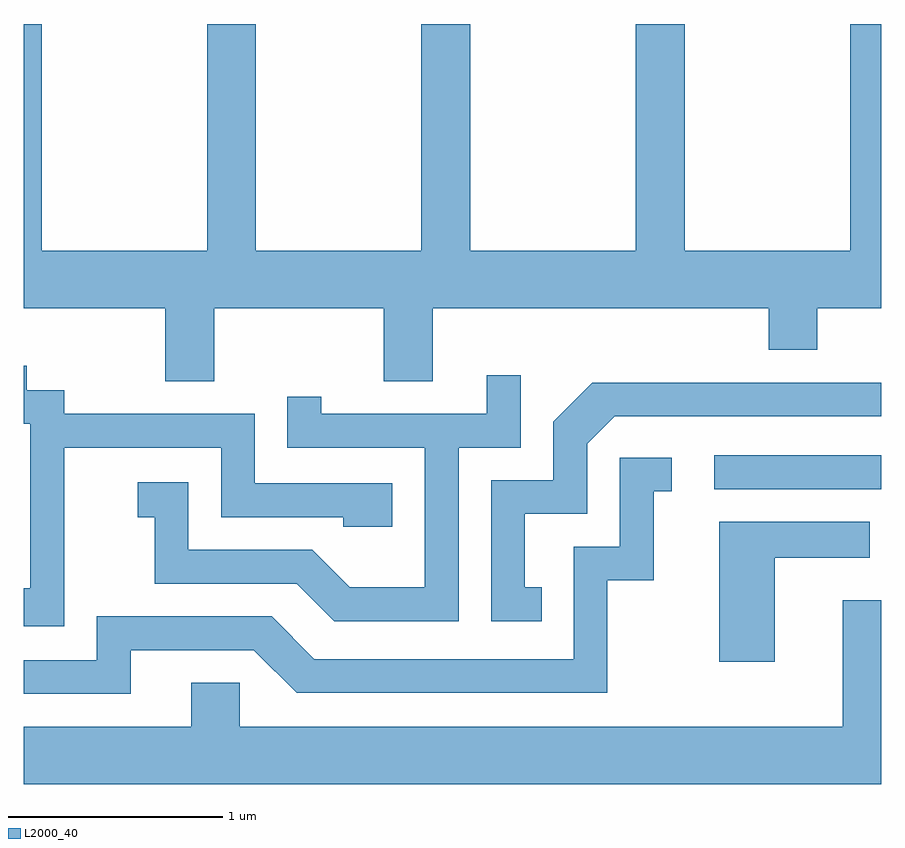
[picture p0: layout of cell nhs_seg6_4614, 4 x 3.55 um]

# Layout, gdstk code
import gdstk
lib = gdstk.Library(unit=1e-6, precision=1e-09)
def R(c, l, rs):  # rectangles x0, y0, x1, y1
    for r in rs: c.add(gdstk.rectangle(r[:2], r[2:], *l))
def P(c, l, *ps):  # polygons
    for p in ps: c.add(gdstk.Polygon(p, *l))
L2000_40 = (2000, 40)

nhs_seg6_4614 = lib.new_cell('nhs_seg6_4614')
R(nhs_seg6_4614, L2000_40, [(328.833,1637.991,329.611,1638.149)])
P(nhs_seg6_4614, L2000_40, [(326.499,1638.836),(327.291,1638.836),(327.291,1638.496),(327.519,1638.496),(327.519,1638.836),(329.086,1638.836),(329.086,1638.641),(329.314,1638.641),(329.314,1638.836),(329.611,1638.836),(329.611,1640.162),(329.466,1640.162),(329.466,1639.104),(328.694,1639.104),(328.694,1640.162),(328.466,1640.162),(328.466,1639.104),(327.694,1639.104),(327.694,1640.162),(327.466,1640.162),(327.466,1639.104),(326.694,1639.104),(326.694,1640.162),(326.466,1640.162),(326.466,1639.104),(325.694,1639.104),(325.694,1640.162),(325.611,1640.162),(325.611,1638.836),(326.271,1638.836),(326.271,1638.496),(326.499,1638.496)],
  [(325.799,1638.186),(326.531,1638.186),(326.531,1637.861),(327.101,1637.861),(327.101,1637.816),(327.329,1637.816),(327.329,1638.019),(326.689,1638.019),(326.689,1638.344),(325.799,1638.344),(325.799,1638.454),(325.624,1638.454),(325.624,1638.568),(325.611,1638.568),(325.611,1638.296),(325.641,1638.296),(325.641,1637.529),(325.611,1637.529),(325.611,1637.351),(325.799,1637.351)],
  [(327.639,1638.186),(327.929,1638.186),(327.929,1638.523),(327.771,1638.523),(327.771,1638.344),(326.999,1638.344),(326.999,1638.423),(326.841,1638.423),(326.841,1638.186),(327.481,1638.186),(327.481,1637.534),(327.132,1637.534),(326.957,1637.709),(326.379,1637.709),(326.379,1638.024),(326.143,1638.024),(326.143,1637.861),(326.221,1637.861),(326.221,1637.551),(326.884,1637.551),(327.059,1637.376),(327.639,1637.376)],
  [(328.028,1637.534),(327.949,1637.534),(327.949,1637.876),(328.239,1637.876),(328.239,1638.204),(328.367,1638.331),(329.611,1638.331),(329.611,1638.489),(328.264,1638.489),(328.081,1638.307),(328.081,1638.034),(327.791,1638.034),(327.791,1637.376),(328.028,1637.376)],
  [(326.109,1637.241),(326.684,1637.241),(326.884,1637.041),(328.334,1637.041),(328.334,1637.566),(328.549,1637.566),(328.549,1637.981),(328.633,1637.981),(328.633,1638.139),(328.391,1638.139),(328.391,1637.724),(328.176,1637.724),(328.176,1637.199),(326.967,1637.199),(326.767,1637.399),(325.951,1637.399),(325.951,1637.194),(325.611,1637.194),(325.611,1637.036),(326.109,1637.036)],
  [(329.114,1637.671),(329.558,1637.671),(329.558,1637.839),(328.856,1637.839),(328.856,1637.186),(329.114,1637.186)],
  [(329.611,1637.474),(329.431,1637.474),(329.431,1636.884),(326.619,1636.884),(326.619,1637.089),(326.391,1637.089),(326.391,1636.884),(325.611,1636.884),(325.611,1636.616),(329.611,1636.616)])

lib.write_gds('nhs_seg6_4614.gds')
